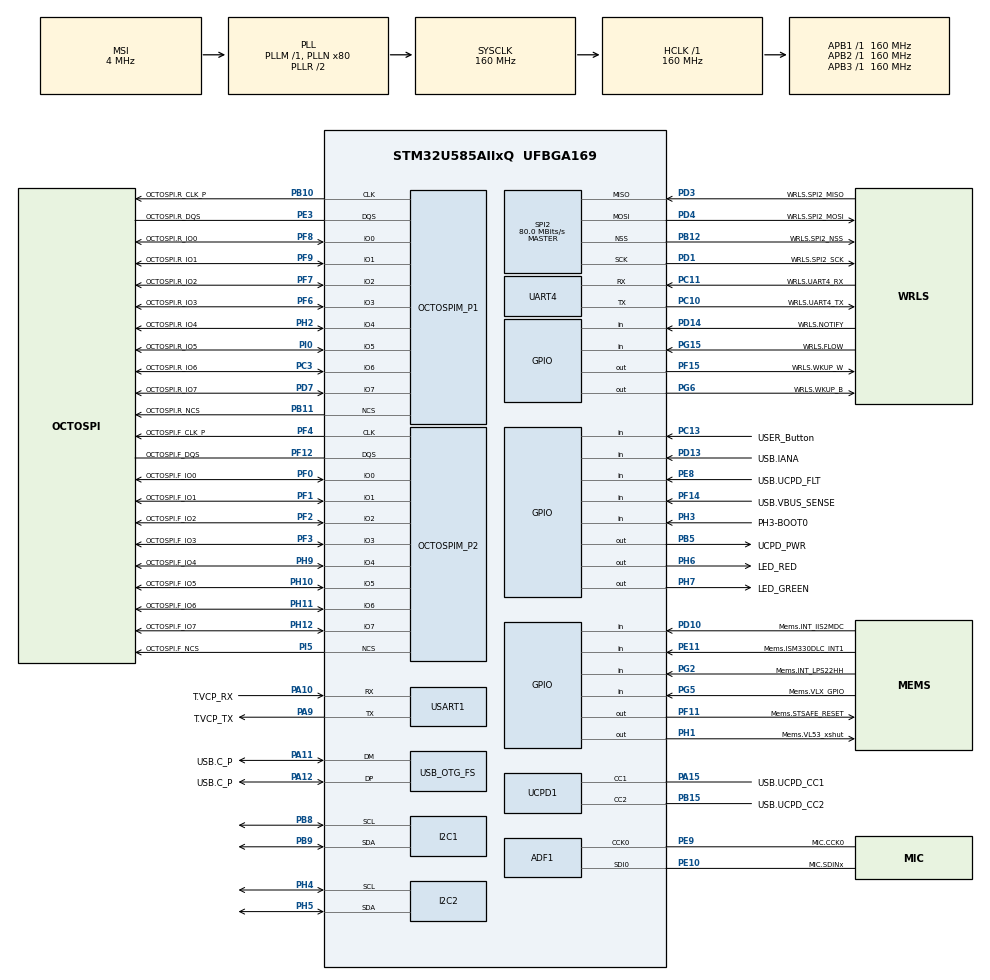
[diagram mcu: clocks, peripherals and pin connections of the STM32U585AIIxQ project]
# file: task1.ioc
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CORTEX_M33_NS.userName=CORTEX_M33
GPDMA1.CIRCULARMODE_GPDMACH1=ENABLE
GPDMA1.DESTINC_GPDMACH1=DMA_DINC_INCREMENTED
GPDMA1.DIRECTION_GPDMACH0=DMA_MEMORY_TO_PERIPH
GPDMA1.IPHANDLE_GPDMACH0-SIMPLEREQUEST_GPDMACH0=__NULL
GPDMA1.IPHANDLE_GPDMACH1-SIMPLEREQUEST_GPDMACH1=__NULL
GPDMA1.REQUEST_GPDMACH0=GPDMA1_REQUEST_USART1_TX
GPDMA1.REQUEST_GPDMACH1=GPDMA1_REQUEST_USART1_RX
GPDMA1.SRCINC_GPDMACH0=DMA_SINC_INCREMENTED
I2C1.Timing=0x30909DEC
I2C2.Timing=0x30909DEC
Mcu.Family=STM32U5
Mcu.Name=STM32U585AIIxQ
Mcu.Package=UFBGA169
NVIC.GPDMA1_Channel0_IRQn=true\:0\:0\:false\:false\:true\:false\:true\:true
NVIC.GPDMA1_Channel1_IRQn=true\:0\:0\:false\:false\:true\:false\:true\:true
NVIC.PriorityGroup=NVIC_PRIORITYGROUP_4
OCTOSPI1.ChipSelectBoundary=10
OCTOSPI1.ClockPrescaler=2
OCTOSPI1.DelayBlockBypass=HAL_OSPI_DELAY_BLOCK_USED
OCTOSPI1.DelayHoldQuarterCycle=HAL_OSPI_DHQC_ENABLE
OCTOSPI1.DeviceSize=23
OCTOSPI1.MemoryType=HAL_OSPI_MEMTYPE_APMEMORY
OCTOSPI1.Refresh=100
OCTOSPI2.ChipSelectBoundary=0
OCTOSPI2.ChipSelectHighTime=2
OCTOSPI2.ClockPrescaler=4
OCTOSPI2.DelayBlockBypass=HAL_OSPI_DELAY_BLOCK_USED
OCTOSPI2.DelayHoldQuarterCycle=HAL_OSPI_DHQC_ENABLE
OCTOSPI2.DeviceSize=26
OCTOSPI2.FifoThreshold=4
OCTOSPI2.MemoryType=HAL_OSPI_MEMTYPE_MACRONIX
PA10.GPIO_Label=T.VCP_RX
PA10.Mode=Asynchronous
PA10.Signal=USART1_RX
PA11.GPIO_Label=USB.C_P
PA11.Mode=Device_Only
PA11.Signal=USB_OTG_FS_DM
PA12.GPIO_Label=USB.C_P
PA12.Mode=Device_Only
PA12.Signal=USB_OTG_FS_DP
PA13\ (JTMS/SWDIO).GPIO_Label=T.SWDIO
PA13\ (JTMS/SWDIO).Mode=Trace_Asynchronous_SW
PA13\ (JTMS/SWDIO).Signal=DEBUG_JTMS-SWDIO
PA14\ (JTCK/SWCLK).GPIO_Label=T.SWCLK
PA14\ (JTCK/SWCLK).Mode=Trace_Asynchronous_SW
PA14\ (JTCK/SWCLK).Signal=DEBUG_JTCK-SWCLK
PA15\ (JTDI).GPIO_Label=USB.UCPD_CC1
PA15\ (JTDI).Mode=Dual_Role_AllSignals
PA15\ (JTDI).Signal=UCPD1_CC1
PA9.GPIO_Label=T.VCP_TX
PA9.Mode=Asynchronous
PA9.Signal=USART1_TX
PB1.GPIO_Label=MIC.SDIN0
PB1.Signal=MDF1_SDI0
PB10.GPIO_Label=OCTOSPI.R_CLK_P
PB10.Mode=O1_P1_CLK
PB10.Signal=OCTOSPIM_P1_CLK
PB11.GPIO_Label=OCTOSPI.R_NCS
PB11.Mode=OCTOSPI1_Port1_NCS
PB11.Signal=OCTOSPIM_P1_NCS
PB12.GPIO_Label=WRLS.SPI2_NSS
PB12.Mode=NSS_Signal_Hard_Output
PB12.Signal=SPI2_NSS
PB15.GPIO_Label=USB.UCPD_CC2
PB15.Mode=Dual_Role_AllSignals
PB15.Signal=UCPD1_CC2
PB3\ (JTDO/TRACESWO).GPIO_Label=T.SWO
PB3\ (JTDO/TRACESWO).Mode=Trace_Asynchronous_SW
PB3\ (JTDO/TRACESWO).Signal=DEBUG_JTDO-SWO
PB5.GPIO_Label=UCPD_PWR
PB5.Signal=GPIO_Output
PB8.Mode=I2C
PB8.Signal=I2C1_SCL
PB9.Mode=I2C
PB9.Signal=I2C1_SDA
PC10.GPIO_Label=WRLS.UART4_TX
PC10.Mode=Asynchronous
PC10.Signal=UART4_TX
PC11.GPIO_Label=WRLS.UART4_RX
PC11.Mode=Asynchronous
PC11.Signal=UART4_RX
PC13.GPIO_Label=USER_Button
PC13.Signal=GPIO_Input
PC14-OSC32_IN\ (PC14).GPIO_Label=PC14-OSC32_IN
PC14-OSC32_IN\ (PC14).Mode=LSE-External-Oscillator
PC14-OSC32_IN\ (PC14).Signal=RCC_OSC32_IN
PC15-OSC32_OUT\ (PC15).GPIO_Label=PC15-OSC32_OUT
PC15-OSC32_OUT\ (PC15).Mode=LSE-External-Oscillator
PC15-OSC32_OUT\ (PC15).Signal=RCC_OSC32_OUT
PC3.GPIO_Label=OCTOSPI.R_IO6
PC3.Mode=OCTOSPI1_IOH_Port1H
PC3.Signal=OCTOSPIM_P1_IO6
PD1.GPIO_Label=WRLS.SPI2_SCK
PD1.Mode=Full_Duplex_Master
PD1.Signal=SPI2_SCK
PD10.GPIO_Label=Mems.INT_IIS2MDC
PD10.Signal=GPIO_Input
PD13.GPIO_Label=USB.IANA
PD13.Signal=GPIO_Input
PD14.GPIO_Label=WRLS.NOTIFY
PD14.Signal=GPIO_Input
PD3.GPIO_Label=WRLS.SPI2_MISO
PD3.Mode=Full_Duplex_Master
PD3.Signal=SPI2_MISO
PD4.GPIO_Label=WRLS.SPI2_MOSI
PD4.Mode=Full_Duplex_Master
PD4.Signal=SPI2_MOSI
PD7.GPIO_Label=OCTOSPI.R_IO7
PD7.Mode=OCTOSPI1_IOH_Port1H
PD7.Signal=OCTOSPIM_P1_IO7
PE10.GPIO_Label=MIC.SDINx
PE10.Mode=MOD_ADF_CCK
PE10.Signal=ADF1_SDI0
PE11.GPIO_Label=Mems.ISM330DLC_INT1
PE11.Signal=GPIO_Input
PE3.GPIO_Label=OCTOSPI.R_DQS
PE3.Mode=OCTOSPI1_Port1_DQS
PE3.Signal=OCTOSPIM_P1_DQS
PE8.GPIO_Label=USB.UCPD_FLT
PE8.Signal=GPIO_Input
PE9.GPIO_Label=MIC.CCK0
PE9.Mode=MOD_MDF_CCK0
PE9.Signal=ADF1_CCK0
PF0.GPIO_Label=OCTOSPI.F_IO0
PF0.Mode=OCTOSPI2_IOL_Port2L
PF0.Signal=OCTOSPIM_P2_IO0
PF1.GPIO_Label=OCTOSPI.F_IO1
PF1.Mode=OCTOSPI2_IOL_Port2L
PF1.Signal=OCTOSPIM_P2_IO1
PF10.GPIO_Label=MIC.CCK1
PF10.Signal=MDF1_CCK1
PF11.GPIO_Label=Mems.STSAFE_RESET
PF11.Signal=GPIO_Output
PF12.GPIO_Label=OCTOSPI.F_DQS
PF12.Mode=OCTOSPI2_Port2_DQS
PF12.Signal=OCTOSPIM_P2_DQS
PF14.GPIO_Label=USB.VBUS_SENSE
PF14.Signal=GPIO_Input
PF15.GPIO_Label=WRLS.WKUP_W
PF15.Signal=GPIO_Output
PF2.GPIO_Label=OCTOSPI.F_IO2
PF2.Mode=OCTOSPI2_IOL_Port2L
PF2.Signal=OCTOSPIM_P2_IO2
PF3.GPIO_Label=OCTOSPI.F_IO3
PF3.Mode=OCTOSPI2_IOL_Port2L
PF3.Signal=OCTOSPIM_P2_IO3
PF4.GPIO_Label=OCTOSPI.F_CLK_P
PF4.Mode=O2_P2_CLK
PF4.Signal=OCTOSPIM_P2_CLK
PF6.GPIO_Label=OCTOSPI.R_IO3
PF6.Mode=OCTOSPI1_IOL_Port1L
PF6.Signal=OCTOSPIM_P1_IO3
PF7.GPIO_Label=OCTOSPI.R_IO2
PF7.Mode=OCTOSPI1_IOL_Port1L
PF7.Signal=OCTOSPIM_P1_IO2
PF8.GPIO_Label=OCTOSPI.R_IO0
PF8.Mode=OCTOSPI1_IOL_Port1L
PF8.Signal=OCTOSPIM_P1_IO0
PF9.GPIO_Label=OCTOSPI.R_IO1
PF9.Mode=OCTOSPI1_IOL_Port1L
PF9.Signal=OCTOSPIM_P1_IO1
PG15.GPIO_Label=WRLS.FLOW
PG15.Signal=GPIO_Input
PG2.GPIO_Label=Mems.INT_LPS22HH
PG2.Signal=GPIO_Input
PG5.GPIO_Label=Mems.VLX_GPIO
PG5.Signal=GPIO_Input
PG6.GPIO_Label=WRLS.WKUP_B
PG6.Signal=GPIO_Output
PH1-OSC_OUT\ (PH1).GPIO_Label=Mems.VL53_xshut
PH1-OSC_OUT\ (PH1).Signal=GPIO_Output
PH10.GPIO_Label=OCTOSPI.F_IO5
PH10.Mode=OCTOSPI2_IOH_Port2H
PH10.Signal=OCTOSPIM_P2_IO5
PH11.GPIO_Label=OCTOSPI.F_IO6
PH11.Mode=OCTOSPI2_IOH_Port2H
PH11.Signal=OCTOSPIM_P2_IO6
PH12.GPIO_Label=OCTOSPI.F_IO7
PH12.Mode=OCTOSPI2_IOH_Port2H
PH12.Signal=OCTOSPIM_P2_IO7
PH2.GPIO_Label=OCTOSPI.R_IO4
PH2.Mode=OCTOSPI1_IOH_Port1H
PH2.Signal=OCTOSPIM_P1_IO4
PH3-BOOT0.GPIO_Label=PH3-BOOT0
PH3-BOOT0.Signal=GPIO_Input
PH4.Mode=I2C
PH4.Signal=I2C2_SCL
PH5.Mode=I2C
PH5.Signal=I2C2_SDA
PH6.GPIO_Label=LED_RED
PH6.Signal=GPIO_Output
PH7.GPIO_Label=LED_GREEN
PH7.Signal=GPIO_Output
PH9.GPIO_Label=OCTOSPI.F_IO4
PH9.Mode=OCTOSPI2_IOH_Port2H
PH9.Signal=OCTOSPIM_P2_IO4
PI0.GPIO_Label=OCTOSPI.R_IO5
PI0.Mode=OCTOSPI1_IOH_Port1H
PI0.Signal=OCTOSPIM_P1_IO5
PI5.GPIO_Label=OCTOSPI.F_NCS
PI5.Mode=OCTOSPI2_Port2_NCS
PI5.Signal=OCTOSPIM_P2_NCS
PWR.PowerMode=PWR_SMPS_SUPPLY
ProjectManager.HeapSize=0x200
ProjectManager.StackSize=0x400
ProjectManager.TargetToolchain=CMake
RCC.ADCFreq_Value=16000000
RCC.AHBFreq_Value=160000000
RCC.APB1Freq_Value=160000000
RCC.APB1TimFreq_Value=160000000
RCC.APB2Freq_Value=160000000
RCC.APB2TimFreq_Value=160000000
RCC.APB3Freq_Value=160000000
RCC.CortexFreq_Value=160000000
RCC.DACCLockSelectionVirtual=RCC_DAC1CLKSOURCE_LSI
RCC.EPOD_VALUE=4000000
RCC.HCLKFreq_Value=160000000
RCC.HSE_VALUE=16000000
RCC.HSI48_VALUE=48000000
RCC.HSI_VALUE=16000000
RCC.LSIDIV_VALUE=32000
RCC.MSI_VALUE=4000000
RCC.PLLN=80
RCC.SYSCLKFreq_VALUE=160000000
RCC.SYSCLKSource=RCC_SYSCLKSOURCE_PLLCLK
RCC.USBFreq_Value=48000000
RCC.VCOOutputFreq_Value=320000000
SPI2.CalculateBaudRate=80.0 MBits/s
SPI2.Direction=SPI_DIRECTION_2LINES
SPI2.Mode=SPI_MODE_MASTER
SPI2.VirtualNSS=VM_NSSHARD
SPI2.VirtualType=VM_MASTER
USART1.VirtualMode-Asynchronous=VM_ASYNC
USB_OTG_FS.VirtualMode=Device_Only
VP_GPDMA1_VS_GPDMACH0.Mode=SIMPLEREQUEST_GPDMACH0
VP_GPDMA1_VS_GPDMACH1.Mode=SIMPLEREQUEST_GPDMACH1
VP_ICACHE_VS_ICACHE.Mode=DirectMappedCache
VP_LPBAMQUEUE_VS_QUEUE.Mode=QUEUEMODE
VP_LPBAM_VS_SIG1.Mode=SmartRun
VP_LPBAM_VS_SIG4.Mode=LPDMA1
VP_MEMORYMAP_VS_MEMORYMAP.Mode=CurAppReg
VP_OCTOSPI1_VS_octo.Mode=octo_mode
VP_OCTOSPI2_VS_octo.Mode=octo_mode
VP_PWR_VS_DBSignals.Mode=DisableDeadBatterySignals
VP_PWR_VS_LPOM.Mode=PowerOptimisation
VP_PWR_VS_SECSignals.Mode=Security/Privilege
board=B-U585I-IOT02A

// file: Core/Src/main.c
/* USER CODE BEGIN Header */
/**
  ******************************************************************************
  * @file           : main.c
  * @brief          : Main program body
  ******************************************************************************
  * @attention
  *
  * Copyright (c) 2026 STMicroelectronics.
  * All rights reserved.
  *
  * This software is licensed under terms that can be found in the LICENSE file
  * in the root directory of this software component.
  * If no LICENSE file comes with this software, it is provided AS-IS.
  *
  ******************************************************************************
  */
/* USER CODE END Header */
#include "main.h"

MDF_HandleTypeDef AdfHandle0;
MDF_FilterConfigTypeDef AdfFilterConfig0;

I2C_HandleTypeDef hi2c1;
I2C_HandleTypeDef hi2c2;

OSPI_HandleTypeDef hospi1;
OSPI_HandleTypeDef hospi2;

SPI_HandleTypeDef hspi2;

UART_HandleTypeDef huart4;
UART_HandleTypeDef huart1;
DMA_NodeTypeDef Node_GPDMA1_Channel1;
DMA_QListTypeDef List_GPDMA1_Channel1;
DMA_HandleTypeDef handle_GPDMA1_Channel1;
DMA_HandleTypeDef handle_GPDMA1_Channel0;

PCD_HandleTypeDef hpcd_USB_OTG_FS;

/* USER CODE BEGIN PV */
uint8_t pRxBuff[10];
uint8_t pTxBuff[] = "Count: 0\r\n";
uint8_t u8Inc = '0';

volatile uint8_t uart_tx_ready = 1;
volatile uint8_t uart_rx_ready = 0;
/* USER CODE END PV */

void SystemClock_Config(void);
static void SystemPower_Config(void);
static void MX_GPIO_Init(void);
static void MX_GPDMA1_Init(void);
static void MX_ADF1_Init(void);
static void MX_I2C1_Init(void);
static void MX_I2C2_Init(void);
static void MX_ICACHE_Init(void);
static void MX_OCTOSPI1_Init(void);
static void MX_OCTOSPI2_Init(void);
static void MX_SPI2_Init(void);
static void MX_UART4_Init(void);
static void MX_USART1_UART_Init(void);
static void MX_UCPD1_Init(void);
static void MX_USB_OTG_FS_PCD_Init(void);

int main(void)
{

  /* MCU Configuration--------------------------------------------------------*/

  /* Reset of all peripherals, Initializes the Flash interface and the Systick. */
  HAL_Init();

  /* Configure the System Power */
  SystemPower_Config();

  /* Configure the system clock */
  SystemClock_Config();

  /* Initialize all configured peripherals */
  MX_GPIO_Init();
  MX_GPDMA1_Init();
  MX_ADF1_Init();
  MX_I2C1_Init();
  MX_I2C2_Init();
  MX_ICACHE_Init();
  MX_OCTOSPI1_Init();
  MX_OCTOSPI2_Init();
  MX_SPI2_Init();
  MX_UART4_Init();
  MX_USART1_UART_Init();
  MX_UCPD1_Init();
  MX_USB_OTG_FS_PCD_Init();
  /* USER CODE BEGIN 2 */
  HAL_NVIC_SetPriority(USART1_IRQn, 0, 0);
  HAL_NVIC_EnableIRQ(USART1_IRQn);

  if (HAL_UART_Receive_DMA(&huart1, pRxBuff, sizeof(pRxBuff)) != HAL_OK) {
      Error_Handler();
  }
/* USER CODE END 2 */

  /* Infinite loop */
  /* USER CODE BEGIN WHILE */
  while (1) {
    /* USER CODE BEGIN 3 */
    if (uart_tx_ready != 0) {
        pTxBuff[7] = u8Inc;

        uart_tx_ready = 0;
        if (HAL_UART_Transmit_DMA(&huart1, pTxBuff, sizeof(pTxBuff) - 1) == HAL_OK) {
            u8Inc++;
            if (u8Inc > '9') {
                u8Inc = '0';
            }
        } else {
            uart_tx_ready = 1;
            HAL_GPIO_TogglePin(LED_RED_GPIO_Port, LED_RED_Pin);
        }
    }

    HAL_Delay(1000);
    /* USER CODE END 3 */
  }
}

void SystemClock_Config(void)
{
  RCC_OscInitTypeDef RCC_OscInitStruct = {0};
  RCC_ClkInitTypeDef RCC_ClkInitStruct = {0};

  /** Configure the main internal regulator output voltage
  */
  if (HAL_PWREx_ControlVoltageScaling(PWR_REGULATOR_VOLTAGE_SCALE1) != HAL_OK)
  {
    Error_Handler();
  }

  /** Initializes the CPU, AHB and APB buses clocks
  */
  RCC_OscInitStruct.OscillatorType = RCC_OSCILLATORTYPE_HSI48|RCC_OSCILLATORTYPE_HSI
                              |RCC_OSCILLATORTYPE_MSI;
  RCC_OscInitStruct.HSIState = RCC_HSI_ON;
  RCC_OscInitStruct.HSI48State = RCC_HSI48_ON;
  RCC_OscInitStruct.HSICalibrationValue = RCC_HSICALIBRATION_DEFAULT;
  RCC_OscInitStruct.MSIState = RCC_MSI_ON;
  RCC_OscInitStruct.MSICalibrationValue = RCC_MSICALIBRATION_DEFAULT;
  RCC_OscInitStruct.MSIClockRange = RCC_MSIRANGE_4;
  RCC_OscInitStruct.PLL.PLLState = RCC_PLL_ON;
  RCC_OscInitStruct.PLL.PLLSource = RCC_PLLSOURCE_MSI;
  RCC_OscInitStruct.PLL.PLLMBOOST = RCC_PLLMBOOST_DIV1;
  RCC_OscInitStruct.PLL.PLLM = 1;
  RCC_OscInitStruct.PLL.PLLN = 80;
  RCC_OscInitStruct.PLL.PLLP = 2;
  RCC_OscInitStruct.PLL.PLLQ = 2;
  RCC_OscInitStruct.PLL.PLLR = 2;
  RCC_OscInitStruct.PLL.PLLRGE = RCC_PLLVCIRANGE_0;
  RCC_OscInitStruct.PLL.PLLFRACN = 0;
  if (HAL_RCC_OscConfig(&RCC_OscInitStruct) != HAL_OK)
  {
    Error_Handler();
  }

  /** Initializes the CPU, AHB and APB buses clocks
  */
  RCC_ClkInitStruct.ClockType = RCC_CLOCKTYPE_HCLK|RCC_CLOCKTYPE_SYSCLK
                              |RCC_CLOCKTYPE_PCLK1|RCC_CLOCKTYPE_PCLK2
                              |RCC_CLOCKTYPE_PCLK3;
  RCC_ClkInitStruct.SYSCLKSource = RCC_SYSCLKSOURCE_PLLCLK;
  RCC_ClkInitStruct.AHBCLKDivider = RCC_SYSCLK_DIV1;
  RCC_ClkInitStruct.APB1CLKDivider = RCC_HCLK_DIV1;
  RCC_ClkInitStruct.APB2CLKDivider = RCC_HCLK_DIV1;
  RCC_ClkInitStruct.APB3CLKDivider = RCC_HCLK_DIV1;

  if (HAL_RCC_ClockConfig(&RCC_ClkInitStruct, FLASH_LATENCY_4) != HAL_OK)
  {
    Error_Handler();
  }
}

/**
  * @brief Power Configuration
  * @retval None
  */
static void SystemPower_Config(void)
{
  HAL_PWREx_EnableVddIO2();

  /*
   * Switch to SMPS regulator instead of LDO
   */
  if (HAL_PWREx_ConfigSupply(PWR_SMPS_SUPPLY) != HAL_OK)
  {
    Error_Handler();
  }
}

static void MX_ADF1_Init(void)
{

  /**
    AdfHandle0 structure initialization and HAL_MDF_Init function call
  */
  AdfHandle0.Instance = ADF1_Filter0;
  AdfHandle0.Init.CommonParam.ProcClockDivider = 1;
  AdfHandle0.Init.CommonParam.OutputClock.Activation = DISABLE;
  AdfHandle0.Init.SerialInterface.Activation = ENABLE;
  AdfHandle0.Init.SerialInterface.Mode = MDF_SITF_LF_MASTER_SPI_MODE;
  AdfHandle0.Init.SerialInterface.ClockSource = MDF_SITF_CCK0_SOURCE;
  AdfHandle0.Init.SerialInterface.Threshold = 4;
  AdfHandle0.Init.FilterBistream = MDF_BITSTREAM0_FALLING;
  if (HAL_MDF_Init(&AdfHandle0) != HAL_OK)
  {
    Error_Handler();
  }

  /**
    AdfFilterConfig0 structure initialization

    WARNING : only structure is filled, no specific init function call for filter
  */
  AdfFilterConfig0.DataSource = MDF_DATA_SOURCE_BSMX;
  AdfFilterConfig0.Delay = 0;
  AdfFilterConfig0.CicMode = MDF_ONE_FILTER_SINC4;
  AdfFilterConfig0.DecimationRatio = 2;
  AdfFilterConfig0.Gain = 0;
  AdfFilterConfig0.ReshapeFilter.Activation = DISABLE;
  AdfFilterConfig0.HighPassFilter.Activation = DISABLE;
  AdfFilterConfig0.SoundActivity.Activation = DISABLE;
  AdfFilterConfig0.AcquisitionMode = MDF_MODE_ASYNC_CONT;
  AdfFilterConfig0.FifoThreshold = MDF_FIFO_THRESHOLD_NOT_EMPTY;
  AdfFilterConfig0.DiscardSamples = 0;

}

static void MX_GPDMA1_Init(void)
{

  /* Peripheral clock enable */
  __HAL_RCC_GPDMA1_CLK_ENABLE();

  /* GPDMA1 interrupt Init */
    HAL_NVIC_SetPriority(GPDMA1_Channel0_IRQn, 0, 0);
    HAL_NVIC_EnableIRQ(GPDMA1_Channel0_IRQn);
    HAL_NVIC_SetPriority(GPDMA1_Channel1_IRQn, 0, 0);
    HAL_NVIC_EnableIRQ(GPDMA1_Channel1_IRQn);

}

static void MX_I2C1_Init(void)
{

  hi2c1.Instance = I2C1;
  hi2c1.Init.Timing = 0x30909DEC;
  hi2c1.Init.OwnAddress1 = 0;
  hi2c1.Init.AddressingMode = I2C_ADDRESSINGMODE_7BIT;
  hi2c1.Init.DualAddressMode = I2C_DUALADDRESS_DISABLE;
  hi2c1.Init.OwnAddress2 = 0;
  hi2c1.Init.OwnAddress2Masks = I2C_OA2_NOMASK;
  hi2c1.Init.GeneralCallMode = I2C_GENERALCALL_DISABLE;
  hi2c1.Init.NoStretchMode = I2C_NOSTRETCH_DISABLE;
  if (HAL_I2C_Init(&hi2c1) != HAL_OK)
  {
    Error_Handler();
  }

  /** Configure Analogue filter
  */
  if (HAL_I2CEx_ConfigAnalogFilter(&hi2c1, I2C_ANALOGFILTER_ENABLE) != HAL_OK)
  {
    Error_Handler();
  }

  /** Configure Digital filter
  */
  if (HAL_I2CEx_ConfigDigitalFilter(&hi2c1, 0) != HAL_OK)
  {
    Error_Handler();
  }

}

static void MX_I2C2_Init(void)
{

  hi2c2.Instance = I2C2;
  hi2c2.Init.Timing = 0x30909DEC;
  hi2c2.Init.OwnAddress1 = 0;
  hi2c2.Init.AddressingMode = I2C_ADDRESSINGMODE_7BIT;
  hi2c2.Init.DualAddressMode = I2C_DUALADDRESS_DISABLE;
  hi2c2.Init.OwnAddress2 = 0;
  hi2c2.Init.OwnAddress2Masks = I2C_OA2_NOMASK;
  hi2c2.Init.GeneralCallMode = I2C_GENERALCALL_DISABLE;
  hi2c2.Init.NoStretchMode = I2C_NOSTRETCH_DISABLE;
  if (HAL_I2C_Init(&hi2c2) != HAL_OK)
  {
    Error_Handler();
  }

  /** Configure Analogue filter
  */
  if (HAL_I2CEx_ConfigAnalogFilter(&hi2c2, I2C_ANALOGFILTER_ENABLE) != HAL_OK)
  {
    Error_Handler();
  }

  /** Configure Digital filter
  */
  if (HAL_I2CEx_ConfigDigitalFilter(&hi2c2, 0) != HAL_OK)
  {
    Error_Handler();
  }

}

static void MX_ICACHE_Init(void)
{

  /** Enable instruction cache in 1-way (direct mapped cache)
  */
  if (HAL_ICACHE_ConfigAssociativityMode(ICACHE_1WAY) != HAL_OK)
  {
    Error_Handler();
  }
  if (HAL_ICACHE_Enable() != HAL_OK)
  {
    Error_Handler();
  }

}

static void MX_OCTOSPI1_Init(void)
{

  OSPIM_CfgTypeDef sOspiManagerCfg = {0};
  HAL_OSPI_DLYB_CfgTypeDef HAL_OSPI_DLYB_Cfg_Struct = {0};

  /* OCTOSPI1 parameter configuration*/
  hospi1.Instance = OCTOSPI1;
  hospi1.Init.FifoThreshold = 1;
  hospi1.Init.DualQuad = HAL_OSPI_DUALQUAD_DISABLE;
  hospi1.Init.MemoryType = HAL_OSPI_MEMTYPE_APMEMORY;
  hospi1.Init.DeviceSize = 23;
  hospi1.Init.ChipSelectHighTime = 1;
  hospi1.Init.FreeRunningClock = HAL_OSPI_FREERUNCLK_DISABLE;
  hospi1.Init.ClockMode = HAL_OSPI_CLOCK_MODE_0;
  hospi1.Init.WrapSize = HAL_OSPI_WRAP_NOT_SUPPORTED;
  hospi1.Init.ClockPrescaler = 2;
  hospi1.Init.SampleShifting = HAL_OSPI_SAMPLE_SHIFTING_NONE;
  hospi1.Init.DelayHoldQuarterCycle = HAL_OSPI_DHQC_ENABLE;
  hospi1.Init.ChipSelectBoundary = 10;
  hospi1.Init.DelayBlockBypass = HAL_OSPI_DELAY_BLOCK_USED;
  hospi1.Init.MaxTran = 0;
  hospi1.Init.Refresh = 100;
  if (HAL_OSPI_Init(&hospi1) != HAL_OK)
  {
    Error_Handler();
  }
  sOspiManagerCfg.ClkPort = 1;
  sOspiManagerCfg.DQSPort = 1;
  sOspiManagerCfg.NCSPort = 1;
  sOspiManagerCfg.IOLowPort = HAL_OSPIM_IOPORT_1_LOW;
  sOspiManagerCfg.IOHighPort = HAL_OSPIM_IOPORT_1_HIGH;
  if (HAL_OSPIM_Config(&hospi1, &sOspiManagerCfg, HAL_OSPI_TIMEOUT_DEFAULT_VALUE) != HAL_OK)
  {
    Error_Handler();
  }
  HAL_OSPI_DLYB_Cfg_Struct.Units = 0;
  HAL_OSPI_DLYB_Cfg_Struct.PhaseSel = 0;
  if (HAL_OSPI_DLYB_SetConfig(&hospi1, &HAL_OSPI_DLYB_Cfg_Struct) != HAL_OK)
  {
    Error_Handler();
  }

}

static void MX_OCTOSPI2_Init(void)
{

  OSPIM_CfgTypeDef sOspiManagerCfg = {0};
  HAL_OSPI_DLYB_CfgTypeDef HAL_OSPI_DLYB_Cfg_Struct = {0};

  /* OCTOSPI2 parameter configuration*/
  hospi2.Instance = OCTOSPI2;
  hospi2.Init.FifoThreshold = 4;
  hospi2.Init.DualQuad = HAL_OSPI_DUALQUAD_DISABLE;
  hospi2.Init.MemoryType = HAL_OSPI_MEMTYPE_MACRONIX;
  hospi2.Init.DeviceSize = 26;
  hospi2.Init.ChipSelectHighTime = 2;
  hospi2.Init.FreeRunningClock = HAL_OSPI_FREERUNCLK_DISABLE;
  hospi2.Init.ClockMode = HAL_OSPI_CLOCK_MODE_0;
  hospi2.Init.WrapSize = HAL_OSPI_WRAP_NOT_SUPPORTED;
  hospi2.Init.ClockPrescaler = 4;
  hospi2.Init.SampleShifting = HAL_OSPI_SAMPLE_SHIFTING_NONE;
  hospi2.Init.DelayHoldQuarterCycle = HAL_OSPI_DHQC_ENABLE;
  hospi2.Init.ChipSelectBoundary = 0;
  hospi2.Init.DelayBlockBypass = HAL_OSPI_DELAY_BLOCK_USED;
  hospi2.Init.MaxTran = 0;
  hospi2.Init.Refresh = 0;
  if (HAL_OSPI_Init(&hospi2) != HAL_OK)
  {
    Error_Handler();
  }
  sOspiManagerCfg.ClkPort = 2;
  sOspiManagerCfg.DQSPort = 2;
  sOspiManagerCfg.NCSPort = 2;
  sOspiManagerCfg.IOLowPort = HAL_OSPIM_IOPORT_2_LOW;
  sOspiManagerCfg.IOHighPort = HAL_OSPIM_IOPORT_2_HIGH;
  if (HAL_OSPIM_Config(&hospi2, &sOspiManagerCfg, HAL_OSPI_TIMEOUT_DEFAULT_VALUE) != HAL_OK)
  {
    Error_Handler();
  }
  HAL_OSPI_DLYB_Cfg_Struct.Units = 0;
  HAL_OSPI_DLYB_Cfg_Struct.PhaseSel = 0;
  if (HAL_OSPI_DLYB_SetConfig(&hospi2, &HAL_OSPI_DLYB_Cfg_Struct) != HAL_OK)
  {
    Error_Handler();
  }

}

static void MX_SPI2_Init(void)
{

  SPI_AutonomousModeConfTypeDef HAL_SPI_AutonomousMode_Cfg_Struct = {0};

  /* SPI2 parameter configuration*/
  hspi2.Instance = SPI2;
  hspi2.Init.Mode = SPI_MODE_MASTER;
  hspi2.Init.Direction = SPI_DIRECTION_2LINES;
  hspi2.Init.DataSize = SPI_DATASIZE_4BIT;
  hspi2.Init.CLKPolarity = SPI_POLARITY_LOW;
  hspi2.Init.CLKPhase = SPI_PHASE_1EDGE;
  hspi2.Init.NSS = SPI_NSS_HARD_OUTPUT;
  hspi2.Init.BaudRatePrescaler = SPI_BAUDRATEPRESCALER_2;
  hspi2.Init.FirstBit = SPI_FIRSTBIT_MSB;
  hspi2.Init.TIMode = SPI_TIMODE_DISABLE;
  hspi2.Init.CRCCalculation = SPI_CRCCALCULATION_DISABLE;
  hspi2.Init.CRCPolynomial = 0x7;
  hspi2.Init.NSSPMode = SPI_NSS_PULSE_ENABLE;
  hspi2.Init.NSSPolarity = SPI_NSS_POLARITY_LOW;
  hspi2.Init.FifoThreshold = SPI_FIFO_THRESHOLD_01DATA;
  hspi2.Init.MasterSSIdleness = SPI_MASTER_SS_IDLENESS_00CYCLE;
  hspi2.Init.MasterInterDataIdleness = SPI_MASTER_INTERDATA_IDLENESS_00CYCLE;
  hspi2.Init.MasterReceiverAutoSusp = SPI_MASTER_RX_AUTOSUSP_DISABLE;
  hspi2.Init.MasterKeepIOState = SPI_MASTER_KEEP_IO_STATE_DISABLE;
  hspi2.Init.IOSwap = SPI_IO_SWAP_DISABLE;
  hspi2.Init.ReadyMasterManagement = SPI_RDY_MASTER_MANAGEMENT_INTERNALLY;
  hspi2.Init.ReadyPolarity = SPI_RDY_POLARITY_HIGH;
  if (HAL_SPI_Init(&hspi2) != HAL_OK)
  {
    Error_Handler();
  }
  HAL_SPI_AutonomousMode_Cfg_Struct.TriggerState = SPI_AUTO_MODE_DISABLE;
  HAL_SPI_AutonomousMode_Cfg_Struct.TriggerSelection = SPI_GRP1_GPDMA_CH0_TCF_TRG;
  HAL_SPI_AutonomousMode_Cfg_Struct.TriggerPolarity = SPI_TRIG_POLARITY_RISING;
  if (HAL_SPIEx_SetConfigAutonomousMode(&hspi2, &HAL_SPI_AutonomousMode_Cfg_Struct) != HAL_OK)
  {
    Error_Handler();
  }

}

static void MX_UART4_Init(void)
{

  huart4.Instance = UART4;
  huart4.Init.BaudRate = 115200;
  huart4.Init.WordLength = UART_WORDLENGTH_8B;
  huart4.Init.StopBits = UART_STOPBITS_1;
  huart4.Init.Parity = UART_PARITY_NONE;
  huart4.Init.Mode = UART_MODE_TX_RX;
  huart4.Init.HwFlowCtl = UART_HWCONTROL_NONE;
  huart4.Init.OverSampling = UART_OVERSAMPLING_16;
  huart4.Init.OneBitSampling = UART_ONE_BIT_SAMPLE_DISABLE;
  huart4.Init.ClockPrescaler = UART_PRESCALER_DIV1;
  huart4.AdvancedInit.AdvFeatureInit = UART_ADVFEATURE_NO_INIT;
  if (HAL_UART_Init(&huart4) != HAL_OK)
  {
    Error_Handler();
  }
  if (HAL_UARTEx_SetTxFifoThreshold(&huart4, UART_TXFIFO_THRESHOLD_1_8) != HAL_OK)
  {
    Error_Handler();
  }
  if (HAL_UARTEx_SetRxFifoThreshold(&huart4, UART_RXFIFO_THRESHOLD_1_8) != HAL_OK)
  {
    Error_Handler();
  }
  if (HAL_UARTEx_DisableFifoMode(&huart4) != HAL_OK)
  {
    Error_Handler();
  }

}

static void MX_USART1_UART_Init(void)
{

  huart1.Instance = USART1;
  huart1.Init.BaudRate = 115200;
  huart1.Init.WordLength = UART_WORDLENGTH_8B;
  huart1.Init.StopBits = UART_STOPBITS_1;
  huart1.Init.Parity = UART_PARITY_NONE;
  huart1.Init.Mode = UART_MODE_TX_RX;
  huart1.Init.HwFlowCtl = UART_HWCONTROL_NONE;
  huart1.Init.OverSampling = UART_OVERSAMPLING_16;
  huart1.Init.OneBitSampling = UART_ONE_BIT_SAMPLE_DISABLE;
  huart1.Init.ClockPrescaler = UART_PRESCALER_DIV1;
  huart1.AdvancedInit.AdvFeatureInit = UART_ADVFEATURE_NO_INIT;
  if (HAL_UART_Init(&huart1) != HAL_OK)
  {
    Error_Handler();
  }
  if (HAL_UARTEx_SetTxFifoThreshold(&huart1, UART_TXFIFO_THRESHOLD_1_8) != HAL_OK)
  {
    Error_Handler();
  }
  if (HAL_UARTEx_SetRxFifoThreshold(&huart1, UART_RXFIFO_THRESHOLD_1_8) != HAL_OK)
  {
    Error_Handler();
  }
  if (HAL_UARTEx_DisableFifoMode(&huart1) != HAL_OK)
  {
    Error_Handler();
  }

}

static void MX_UCPD1_Init(void)
{

  LL_GPIO_InitTypeDef GPIO_InitStruct = {0};

  /* Peripheral clock enable */
  LL_APB1_GRP2_EnableClock(LL_APB1_GRP2_PERIPH_UCPD1);

  LL_AHB2_GRP1_EnableClock(LL_AHB2_GRP1_PERIPH_GPIOA);
  LL_AHB2_GRP1_EnableClock(LL_AHB2_GRP1_PERIPH_GPIOB);
  /**UCPD1 GPIO Configuration
  PA15 (JTDI)   ------> UCPD1_CC1
  PB15   ------> UCPD1_CC2
  */
  GPIO_InitStruct.Pin = LL_GPIO_PIN_15;
  GPIO_InitStruct.Mode = LL_GPIO_MODE_ANALOG;
  GPIO_InitStruct.Pull = LL_GPIO_PULL_NO;
  LL_GPIO_Init(GPIOA, &GPIO_InitStruct);

  GPIO_InitStruct.Pin = LL_GPIO_PIN_15;
  GPIO_InitStruct.Mode = LL_GPIO_MODE_ANALOG;
  GPIO_InitStruct.Pull = LL_GPIO_PULL_NO;
  LL_GPIO_Init(GPIOB, &GPIO_InitStruct);

}

static void MX_USB_OTG_FS_PCD_Init(void)
{

  hpcd_USB_OTG_FS.Instance = USB_OTG_FS;
  hpcd_USB_OTG_FS.Init.dev_endpoints = 6;
  hpcd_USB_OTG_FS.Init.speed = PCD_SPEED_FULL;
  hpcd_USB_OTG_FS.Init.phy_itface = PCD_PHY_EMBEDDED;
  hpcd_USB_OTG_FS.Init.Sof_enable = DISABLE;
  hpcd_USB_OTG_FS.Init.low_power_enable = DISABLE;
  hpcd_USB_OTG_FS.Init.lpm_enable = DISABLE;
  hpcd_USB_OTG_FS.Init.battery_charging_enable = DISABLE;
  hpcd_USB_OTG_FS.Init.use_dedicated_ep1 = DISABLE;
  hpcd_USB_OTG_FS.Init.vbus_sensing_enable = DISABLE;
  hpcd_USB_OTG_FS.Init.dma_enable = DISABLE;
  if (HAL_PCD_Init(&hpcd_USB_OTG_FS) != HAL_OK)
  {
    Error_Handler();
  }

}

static void MX_GPIO_Init(void)
{
  GPIO_InitTypeDef GPIO_InitStruct = {0};

  /* GPIO Ports Clock Enable */
  __HAL_RCC_GPIOG_CLK_ENABLE();
  __HAL_RCC_GPIOC_CLK_ENABLE();
  __HAL_RCC_GPIOA_CLK_ENABLE();
  __HAL_RCC_GPIOI_CLK_ENABLE();
  __HAL_RCC_GPIOH_CLK_ENABLE();
  __HAL_RCC_GPIOB_CLK_ENABLE();
  __HAL_RCC_GPIOD_CLK_ENABLE();
  __HAL_RCC_GPIOE_CLK_ENABLE();
  __HAL_RCC_GPIOF_CLK_ENABLE();

  /*Configure GPIO pin Output Level */
  HAL_GPIO_WritePin(UCPD_PWR_GPIO_Port, UCPD_PWR_Pin, GPIO_PIN_RESET);

  /*Configure GPIO pin Output Level */
  HAL_GPIO_WritePin(GPIOH, LED_RED_Pin|LED_GREEN_Pin|Mems_VL53_xshut_Pin, GPIO_PIN_RESET);

  /*Configure GPIO pin Output Level */
  HAL_GPIO_WritePin(WRLS_WKUP_B_GPIO_Port, WRLS_WKUP_B_Pin, GPIO_PIN_RESET);

  /*Configure GPIO pin Output Level */
  HAL_GPIO_WritePin(GPIOF, Mems_STSAFE_RESET_Pin|WRLS_WKUP_W_Pin, GPIO_PIN_RESET);

  /*Configure GPIO pins : WRLS_FLOW_Pin Mems_VLX_GPIO_Pin Mems_INT_LPS22HH_Pin */
  GPIO_InitStruct.Pin = WRLS_FLOW_Pin|Mems_VLX_GPIO_Pin|Mems_INT_LPS22HH_Pin;
  GPIO_InitStruct.Mode = GPIO_MODE_INPUT;
  GPIO_InitStruct.Pull = GPIO_NOPULL;
  HAL_GPIO_Init(GPIOG, &GPIO_InitStruct);

  /*Configure GPIO pin : PH3_BOOT0_Pin */
  GPIO_InitStruct.Pin = PH3_BOOT0_Pin;
  GPIO_InitStruct.Mode = GPIO_MODE_INPUT;
  GPIO_InitStruct.Pull = GPIO_NOPULL;
  HAL_GPIO_Init(PH3_BOOT0_GPIO_Port, &GPIO_InitStruct);

  /*Configure GPIO pin : UCPD_PWR_Pin */
  GPIO_InitStruct.Pin = UCPD_PWR_Pin;
  GPIO_InitStruct.Mode = GPIO_MODE_OUTPUT_PP;
  GPIO_InitStruct.Pull = GPIO_NOPULL;
  GPIO_InitStruct.Speed = GPIO_SPEED_FREQ_LOW;
  HAL_GPIO_Init(UCPD_PWR_GPIO_Port, &GPIO_InitStruct);

  /*Configure GPIO pin : USER_Button_Pin */
  GPIO_InitStruct.Pin = USER_Button_Pin;
  GPIO_InitStruct.Mode = GPIO_MODE_INPUT;
  GPIO_InitStruct.Pull = GPIO_NOPULL;
  HAL_GPIO_Init(USER_Button_GPIO_Port, &GPIO_InitStruct);

  /*Configure GPIO pins : LED_RED_Pin LED_GREEN_Pin Mems_VL53_xshut_Pin */
  GPIO_InitStruct.Pin = LED_RED_Pin|LED_GREEN_Pin|Mems_VL53_xshut_Pin;
  GPIO_InitStruct.Mode = GPIO_MODE_OUTPUT_PP;
  GPIO_InitStruct.Pull = GPIO_NOPULL;
  GPIO_InitStruct.Speed = GPIO_SPEED_FREQ_LOW;
  HAL_GPIO_Init(GPIOH, &GPIO_InitStruct);

  /*Configure GPIO pin : MIC_CCK1_Pin */
  GPIO_InitStruct.Pin = MIC_CCK1_Pin;
  GPIO_InitStruct.Mode = GPIO_MODE_AF_PP;
  GPIO_InitStruct.Pull = GPIO_NOPULL;
  GPIO_InitStruct.Speed = GPIO_SPEED_FREQ_LOW;
  GPIO_InitStruct.Alternate = GPIO_AF6_MDF1;
  HAL_GPIO_Init(MIC_CCK1_GPIO_Port, &GPIO_InitStruct);

  /*Configure GPIO pin : WRLS_WKUP_B_Pin */
  GPIO_InitStruct.Pin = WRLS_WKUP_B_Pin;
  GPIO_InitStruct.Mode = GPIO_MODE_OUTPUT_PP;
  GPIO_InitStruct.Pull = GPIO_NOPULL;
  GPIO_InitStruct.Speed = GPIO_SPEED_FREQ_LOW;
  HAL_GPIO_Init(WRLS_WKUP_B_GPIO_Port, &GPIO_InitStruct);

  /*Configure GPIO pins : WRLS_NOTIFY_Pin Mems_INT_IIS2MDC_Pin USB_IANA_Pin */
  GPIO_InitStruct.Pin = WRLS_NOTIFY_Pin|Mems_INT_IIS2MDC_Pin|USB_IANA_Pin;
  GPIO_InitStruct.Mode = GPIO_MODE_INPUT;
  GPIO_InitStruct.Pull = GPIO_NOPULL;
  HAL_GPIO_Init(GPIOD, &GPIO_InitStruct);

  /*Configure GPIO pins : USB_UCPD_FLT_Pin Mems_ISM330DLC_INT1_Pin */
  GPIO_InitStruct.Pin = USB_UCPD_FLT_Pin|Mems_ISM330DLC_INT1_Pin;
  GPIO_InitStruct.Mode = GPIO_MODE_INPUT;
  GPIO_InitStruct.Pull = GPIO_NOPULL;
  HAL_GPIO_Init(GPIOE, &GPIO_InitStruct);

  /*Configure GPIO pin : USB_VBUS_SENSE_Pin */
  GPIO_InitStruct.Pin = USB_VBUS_SENSE_Pin;
  GPIO_InitStruct.Mode = GPIO_MODE_INPUT;
  GPIO_InitStruct.Pull = GPIO_NOPULL;
  HAL_GPIO_Init(USB_VBUS_SENSE_GPIO_Port, &GPIO_InitStruct);

  /*Configure GPIO pins : Mems_STSAFE_RESET_Pin WRLS_WKUP_W_Pin */
  GPIO_InitStruct.Pin = Mems_STSAFE_RESET_Pin|WRLS_WKUP_W_Pin;
  GPIO_InitStruct.Mode = GPIO_MODE_OUTPUT_PP;
  GPIO_InitStruct.Pull = GPIO_NOPULL;
  GPIO_InitStruct.Speed = GPIO_SPEED_FREQ_LOW;
  HAL_GPIO_Init(GPIOF, &GPIO_InitStruct);

  /*Configure GPIO pin : MIC_SDIN0_Pin */
  GPIO_InitStruct.Pin = MIC_SDIN0_Pin;
  GPIO_InitStruct.Mode = GPIO_MODE_AF_PP;
  GPIO_InitStruct.Pull = GPIO_NOPULL;
  GPIO_InitStruct.Speed = GPIO_SPEED_FREQ_LOW;
  GPIO_InitStruct.Alternate = GPIO_AF6_MDF1;
  HAL_GPIO_Init(MIC_SDIN0_GPIO_Port, &GPIO_InitStruct);

}

/* USER CODE BEGIN 4 */
void HAL_UART_TxCpltCallback(UART_HandleTypeDef *huart) {
    if (huart->Instance == USART1) {
        uart_tx_ready = 1;
        HAL_GPIO_TogglePin(LED_GREEN_GPIO_Port, LED_GREEN_Pin);
    }
}

void HAL_UART_RxCpltCallback(UART_HandleTypeDef *huart) {
    if (huart->Instance == USART1) {
        uart_rx_ready = 1;
        HAL_GPIO_TogglePin(LED_RED_GPIO_Port, LED_RED_Pin);
    }
}
/* USER CODE END 4 */

void Error_Handler(void)
{
  __disable_irq();
  while (1)
  {
  }
}
